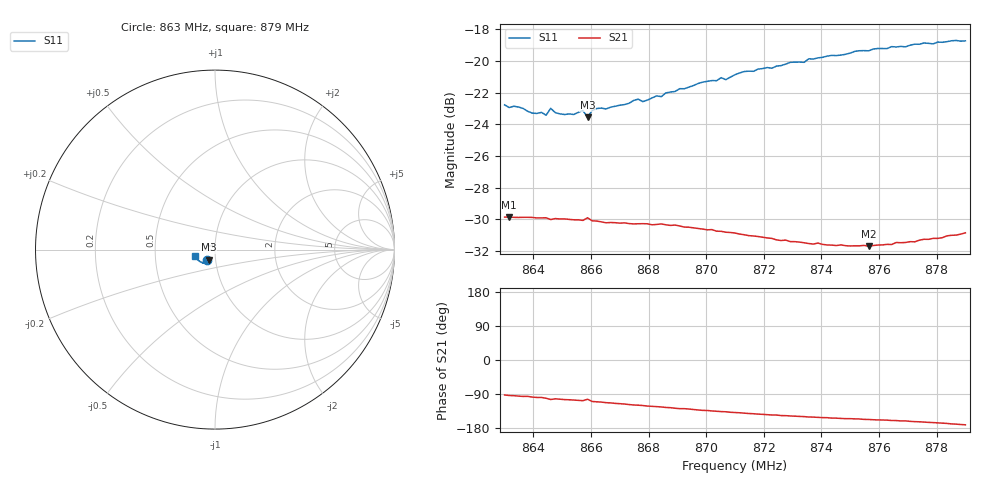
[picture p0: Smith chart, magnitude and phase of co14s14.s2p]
# HZ S RI R 50
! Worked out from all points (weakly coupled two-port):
!   101 points, 863 MHz to 879 MHz, reference 50 ohm
!   highest |S21| = -29.86 dB at 863.16 MHz (marker M1); lowest = -31.7 dB at 875.64 MHz (marker M2)
!   lowest |S11| = -23.6 dB at 865.88 MHz (marker M3), VSWR 1.14, Z = 46.4 - j5.29 ohm
!   |S11| at or under -10 dB: start of sweep to end of sweep
!   S12 and S22 are empty: the file has one direction only
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8.63e8  -0.0447 -0.0573  -0.00125 -0.0321  0 0  0 0
8.6316e8  -0.0431 -0.0567  -0.00206 -0.0321  0 0  0 0
8.6348e8  -0.0435 -0.0567  -0.00294 -0.0319  0 0  0 0
8.6444e8  -0.0378 -0.0558  -0.00606 -0.0314  0 0  0 0
8.646e8  -0.0415 -0.0574  -0.00778 -0.0306  0 0  0 0
8.6476e8  -0.0385 -0.0568  -0.00686 -0.031  0 0  0 0
8.6508e8  -0.0365 -0.057  -0.00794 -0.0307  0 0  0 0
8.6572e8  -0.0358 -0.0597  -0.00935 -0.0299  0 0  0 0
8.6588e8  -0.0344 -0.0567  -0.00748 -0.0311  0 0  0 0
8.6604e8  -0.0345 -0.0606  -0.0104 -0.0295  0 0  0 0
8.662e8  -0.0364 -0.0607  -0.0108 -0.0293  0 0  0 0
8.6652e8  -0.0345 -0.0615  -0.0118 -0.0284  0 0  0 0
8.6764e8  -0.0375 -0.0658  -0.015 -0.0267  0 0  0 0
8.6844e8  -0.038 -0.0671  -0.017 -0.0254  0 0  0 0
8.6908e8  -0.0427 -0.0696  -0.0187 -0.0236  0 0  0 0
8.7052e8  -0.0489 -0.0738  -0.0209 -0.0201  0 0  0 0
8.7068e8  -0.0488 -0.0723  -0.0209 -0.0198  0 0  0 0
8.71e8  -0.0513 -0.0744  -0.0215 -0.0189  0 0  0 0
8.7372e8  -0.0705 -0.0729  -0.023 -0.0129  0 0  0 0
8.7564e8  -0.0862 -0.0644  -0.0239 -0.0102  0 0  0 0
8.7644e8  -0.0937 -0.0594  -0.0247 -0.00915  0 0  0 0
8.79e8  -0.1096 -0.0368  -0.0283 -0.00449  0 0  0 0
